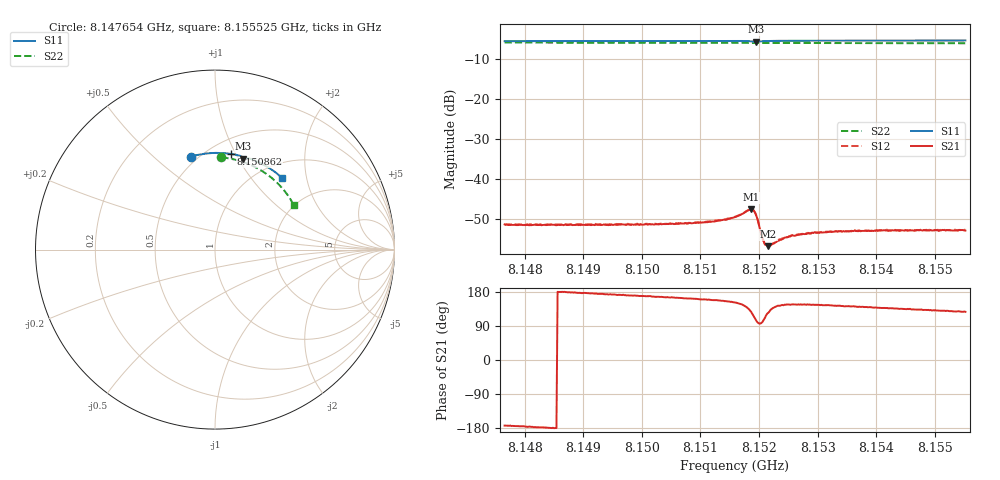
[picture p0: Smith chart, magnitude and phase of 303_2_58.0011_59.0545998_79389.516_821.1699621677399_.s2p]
#  HZ  S  RI  R  50.00
! Rohde & Schwarz Vector Network Analyzer
! Rohde-Schwarz,ZNB20-2Port,1311601062101988,3.16
! Created: UTC 3/21/2024, 1:03:52 AM
! freq[Hz]  re:S11  im:S11  re:S21  im:S21  re:S12  im:S12  re:S22  im:S22
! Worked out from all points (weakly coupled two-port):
!   401 points, 8.147654 GHz to 8.155525 GHz, reference 50 ohm
!   highest |S21| = -47.66 dB at 8.151865 GHz (marker M1); lowest = -56.9 dB at 8.15216 GHz (marker M2)
!   lowest |S11| = -5.5 dB at 8.151944 GHz (marker M3), VSWR 3.25, Z = 37.2 + j52.4 ohm
!   |S11| at or under -10 dB: nowhere
!   |S22| runs from -5.9 to -5.8 dB; largest |S21 - S12| = 0.00011
!   S11 on the Smith chart (normalised r, x): 8.147654 GHz: 0.46, +0.67; 8.150862 GHz: 0.63, +0.96; 8.155525 GHz: 1.27, +1.45
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8.1476544e9  -0.133 0.5186  -0.00265 -0.000321  -0.00264 -0.000276  0.0361 0.5133
8.1489727e9  -0.0425 0.5359  -0.00264 0.000166  -0.00267 0.000184  0.121 0.4989
8.150291e9  0.0491 0.5377  -0.0026 0.000608  -0.00263 0.000668  0.2017 0.4706
8.1508616e9  0.0889 0.5334  -0.00263 0.000854  -0.00266 0.000881  0.2346 0.4541
8.1512551e9  0.1165 0.5284  -0.00272 0.0011  -0.00275 0.00117  0.2566 0.4416
8.1515896e9  0.1406 0.5221  -0.00291 0.00157  -0.00291 0.00164  0.2748 0.4298
8.1518257e9  0.1574 0.5123  -0.00283 0.00289  -0.00279 0.00294  0.2871 0.4209
8.1518651e9  0.1588 0.5093  -0.0025 0.0033  -0.00244 0.00336  0.2892 0.4195
8.1519044e9  0.1587 0.5067  -0.0018 0.00358  -0.0018 0.00365  0.2909 0.418
8.1519438e9  0.1573 0.5057  -0.000991 0.00344  -0.000923 0.0035  0.2928 0.4165
8.1519831e9  0.1567 0.5072  -0.000415 0.00289  -0.000365 0.00294  0.2949 0.4151
8.1520422e9  0.159 0.5104  -0.000276 0.00196  -0.000283 0.00194  0.2978 0.4131
8.1520815e9  0.1621 0.5117  -0.000459 0.00155  -0.000437 0.00158  0.2998 0.4117
8.1521209e9  0.1654 0.5124  -0.000689 0.00129  -0.000642 0.00134  0.3019 0.4101
8.1521602e9  0.1688 0.5125  -0.000814 0.00117  -0.000826 0.00119  0.3039 0.4086
8.1522586e9  0.1766 0.5113  -0.00116 0.00102  -0.00116 0.00104  0.309 0.4049
8.152357e9  0.1841 0.5098  -0.00136 0.00102  -0.00137 0.00107  0.314 0.4009
8.1525341e9  0.1969 0.5059  -0.00156 0.00106  -0.00158 0.00107  0.3225 0.3936
8.1529079e9  0.2217 0.4965  -0.00174 0.00119  -0.00172 0.0012  0.3403 0.3776
8.1533605e9  0.2506 0.4834  -0.00175 0.00131  -0.00174 0.00136  0.3607 0.3572
8.1542262e9  0.3028 0.454  -0.00161 0.00154  -0.00162 0.00156  0.3962 0.3153
8.1555248e9  0.374 0.3997  -0.00135 0.00178  -0.00135 0.00185  0.4399 0.2466
